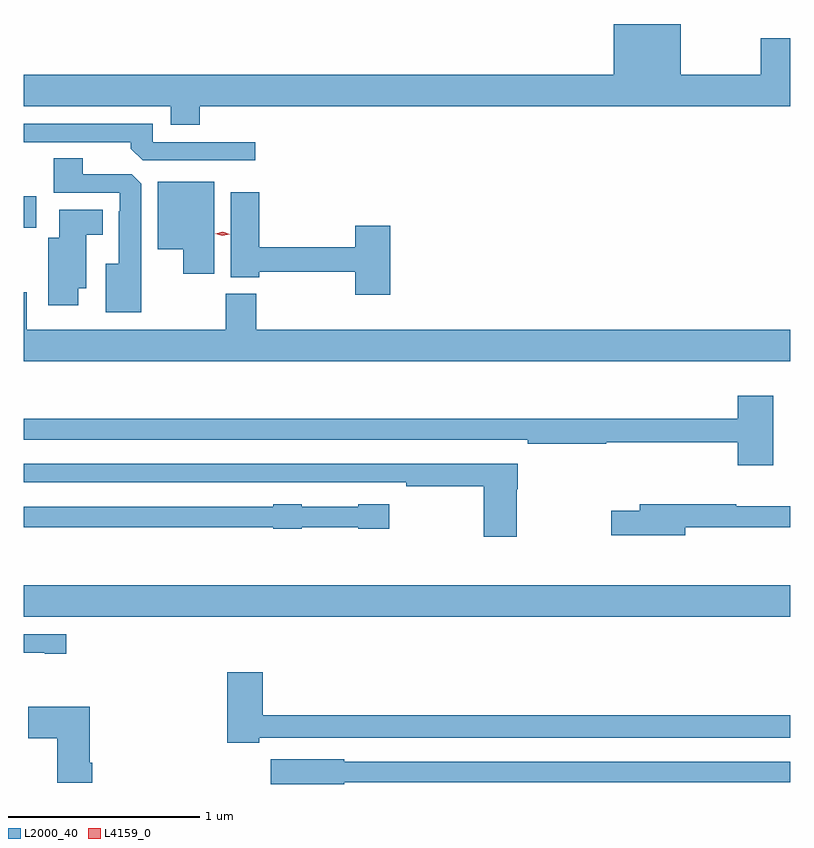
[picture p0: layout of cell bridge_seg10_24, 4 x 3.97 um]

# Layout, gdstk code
import gdstk
lib = gdstk.Library(unit=1e-6, precision=1e-09)
def R(c, l, rs):  # rectangles x0, y0, x1, y1
    for r in rs: c.add(gdstk.rectangle(r[:2], r[2:], *l))
def P(c, l, *ps):  # polygons
    for p in ps: c.add(gdstk.Polygon(p, *l))
L2000_40 = (2000, 40)
L4159_0 = (4159, 0)

bridge_seg10_24 = lib.new_cell('bridge_seg10_24')
R(bridge_seg10_24, L2000_40, [(957.697,1261.688,961.697,1261.852), (957.697,1263.718,957.763,1263.88)])
P(bridge_seg10_24, L2000_40, [(958.616,1264.352),(961.697,1264.352),(961.697,1264.705),(961.544,1264.705),(961.544,1264.516),(961.126,1264.516),(961.126,1264.78),(960.776,1264.78),(960.776,1264.516),(957.697,1264.516),(957.697,1264.352),(958.463,1264.352),(958.463,1264.253),(958.616,1264.253)],
  [(958.906,1264.164),(958.371,1264.164),(958.371,1264.26),(957.697,1264.26),(957.697,1264.164),(958.256,1264.164),(958.256,1264.13),(958.317,1264.068),(958.906,1264.068)],
  [(958.309,1263.947),(958.26,1263.996),(958.006,1263.996),(958.006,1264.079),(957.854,1264.079),(957.854,1263.9),(958.197,1263.9),(958.197,1263.803),(958.193,1263.803),(958.193,1263.529),(958.124,1263.529),(958.124,1263.275),(958.309,1263.275)],
  [(958.69,1263.958),(958.397,1263.958),(958.397,1263.605),(958.529,1263.605),(958.529,1263.477),(958.69,1263.477)],
  [(959.609,1263.727),(959.426,1263.727),(959.426,1263.614),(958.925,1263.614),(958.925,1263.901),(958.778,1263.901),(958.778,1263.458),(958.925,1263.458),(958.925,1263.486),(959.426,1263.486),(959.426,1263.366),(959.609,1263.366)],
  [(957.982,1263.401),(958.024,1263.401),(958.024,1263.68),(958.108,1263.68),(958.108,1263.811),(957.881,1263.811),(957.881,1263.664),(957.824,1263.664),(957.824,1263.312),(957.982,1263.312)],
  [(961.697,1263.184),(958.91,1263.184),(958.91,1263.373),(958.75,1263.373),(958.75,1263.184),(957.712,1263.184),(957.712,1263.379),(957.697,1263.379),(957.697,1263.02),(961.697,1263.02)],
  [(961.607,1262.839),(961.424,1262.839),(961.424,1262.719),(957.697,1262.719),(957.697,1262.61),(960.328,1262.61),(960.328,1262.59),(960.736,1262.59),(960.736,1262.598),(961.424,1262.598),(961.424,1262.478),(961.607,1262.478)],
  [(960.27,1262.351),(960.275,1262.351),(960.275,1262.484),(957.697,1262.484),(957.697,1262.388),(959.692,1262.388),(959.692,1262.368),(960.097,1262.368),(960.097,1262.103),(960.27,1262.103)],
  [(961.15,1262.154),(961.697,1262.154),(961.697,1262.264),(961.415,1262.264),(961.415,1262.275),(960.911,1262.275),(960.911,1262.241),(960.762,1262.241),(960.762,1262.111),(961.15,1262.111)],
  [(959.148,1262.154),(959.442,1262.154),(959.442,1262.146),(959.605,1262.146),(959.605,1262.275),(959.442,1262.275),(959.442,1262.262),(959.148,1262.262),(959.148,1262.275),(958.998,1262.275),(958.998,1262.262),(957.697,1262.262),(957.697,1262.154),(958.998,1262.154),(958.998,1262.146),(959.148,1262.146)],
  [(957.919,1261.596),(957.697,1261.596),(957.697,1261.5),(957.806,1261.5),(957.806,1261.495),(957.919,1261.495)],
  [(958.926,1261.056),(961.697,1261.056),(961.697,1261.172),(958.943,1261.172),(958.943,1261.396),(958.76,1261.396),(958.76,1261.028),(958.926,1261.028)],
  [(958.055,1260.925),(958.042,1260.925),(958.042,1261.216),(957.72,1261.216),(957.72,1261.054),(957.872,1261.054),(957.872,1260.821),(958.055,1260.821)],
  [(959.37,1260.822),(961.697,1260.822),(961.697,1260.93),(959.37,1260.93),(959.37,1260.943),(958.986,1260.943),(958.986,1260.814),(959.37,1260.814)])
P(bridge_seg10_24, L4159_0, [(958.734,1263.675),(958.697,1263.686),(958.696,1263.686),(958.697,1263.686),(958.735,1263.695),(958.772,1263.684),(958.773,1263.684),(958.772,1263.684)])

lib.write_gds('bridge_seg10_24.gds')
